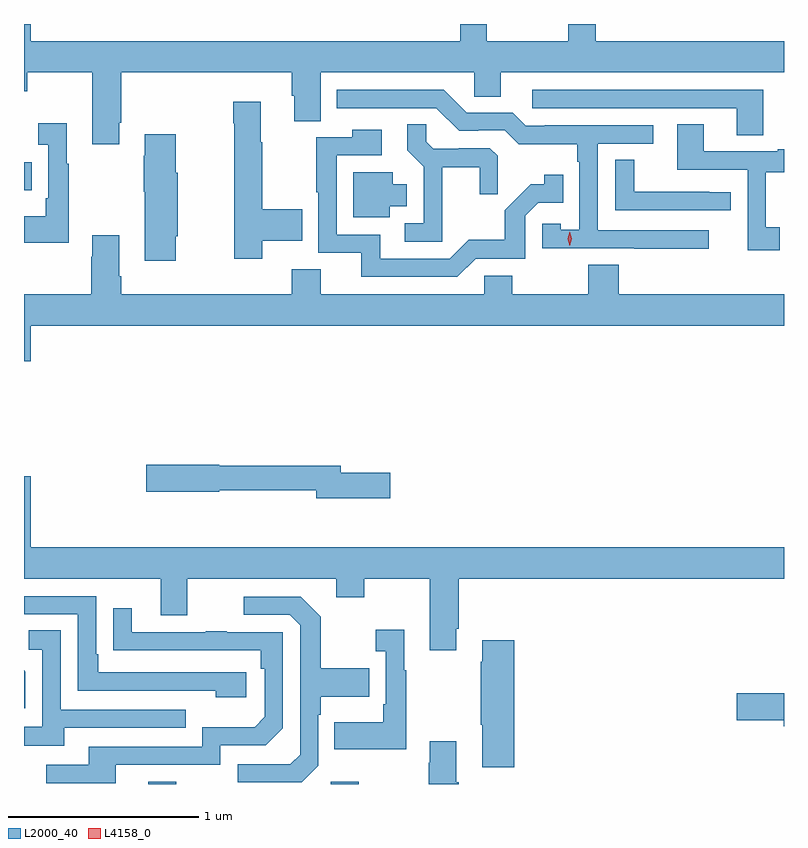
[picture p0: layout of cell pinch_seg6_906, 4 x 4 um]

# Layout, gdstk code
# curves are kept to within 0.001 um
import gdstk
lib = gdstk.Library(unit=1e-6, precision=1e-09)
def R(c, l, rs):  # rectangles x0, y0, x1, y1
    for r in rs: c.add(gdstk.rectangle(r[:2], r[2:], *l))
def P(c, l, *ps):  # polygons
    for p in ps: c.add(gdstk.Polygon(p, *l))
L2000_40 = (2000, 40)
L4158_0 = (4158, 0)

pinch_seg6_906 = lib.new_cell('pinch_seg6_906')
R(pinch_seg6_906, L2000_40, [(357.599,918.283,357.747,918.295), (358.56,918.283,358.707,918.295), (356.945,921.407,356.987,921.555)])
P(pinch_seg6_906, L2000_40, [(357.445,921.763),(357.458,921.763),(357.458,922.028),(358.355,922.028),(358.355,921.906),(358.367,921.906),(358.367,921.772),(358.507,921.772),(358.507,922.028),(359.316,922.028),(359.316,921.901),(359.455,921.901),(359.455,922.028),(360.945,922.028),(360.945,922.192),(359.954,922.192),(359.954,922.283),(359.81,922.283),(359.81,922.192),(359.38,922.192),(359.38,922.283),(359.24,922.283),(359.24,922.192),(356.98,922.192),(356.98,922.283),(356.945,922.283),(356.945,921.929),(356.961,921.929),(356.961,922.028),(357.305,922.028),(357.305,921.651),(357.445,921.651)],
  [(360.835,921.936),(359.619,921.936),(359.619,921.84),(360.695,921.84),(360.695,921.697),(360.835,921.697)],
  [(360.55,921.198),(359.964,921.198),(359.964,921.654),(360.256,921.654),(360.256,921.75),(359.686,921.75),(359.686,921.747),(359.586,921.747),(359.517,921.816),(359.274,921.816),(359.154,921.936),(358.592,921.936),(358.592,921.84),(359.115,921.84),(359.235,921.72),(359.336,921.72),(359.336,921.723),(359.475,921.723),(359.548,921.65),(359.856,921.65),(359.856,921.557),(359.868,921.557),(359.868,921.199),(359.769,921.199),(359.769,921.231),(359.673,921.231),(359.673,921.102),(360.157,921.102),(360.157,921.1),(360.55,921.1)],
  [(358.2,921.143),(358.409,921.143),(358.409,921.309),(358.2,921.309),(358.2,921.661),(358.192,921.661),(358.192,921.874),(358.046,921.874),(358.046,921.761),(358.051,921.761),(358.051,921.048),(358.2,921.048)],
  [(357.181,921.547),(357.169,921.547),(357.169,921.76),(357.021,921.76),(357.021,921.647),(357.072,921.647),(357.072,921.367),(357.06,921.367),(357.06,921.271),(356.945,921.271),(356.945,921.131),(357.181,921.131)],
  [(359.147,921.53),(359.344,921.53),(359.344,921.387),(359.438,921.387),(359.438,921.589),(359.397,921.63),(359.232,921.63),(359.232,921.627),(359.098,921.627),(359.061,921.664),(359.061,921.755),(358.963,921.755),(358.963,921.619),(359.049,921.533),(359.049,921.234),(358.95,921.234),(358.95,921.138),(359.147,921.138)],
  [(360.922,921.213),(360.85,921.213),(360.85,921.504),(360.945,921.504),(360.945,921.625),(360.911,921.625),(360.911,921.612),(360.523,921.612),(360.523,921.755),(360.383,921.755),(360.383,921.516),(360.753,921.516),(360.753,921.093),(360.922,921.093)],
  [(359.322,921.048),(359.583,921.048),(359.583,921.273),(359.652,921.342),(359.783,921.342),(359.783,921.49),(359.682,921.49),(359.682,921.44),(359.612,921.44),(359.475,921.302),(359.475,921.147),(359.286,921.147),(359.187,921.048),(358.819,921.048),(358.819,921.174),(358.59,921.174),(358.59,921.591),(358.828,921.591),(358.828,921.727),(358.672,921.727),(358.672,921.687),(358.482,921.687),(358.482,921.397),(358.494,921.397),(358.494,921.078),(358.721,921.078),(358.721,920.952),(359.226,920.952)],
  [(357.744,921.165),(357.754,921.165),(357.754,921.501),(357.744,921.501),(357.744,921.703),(357.581,921.703),(357.581,921.59),(357.574,921.59),(357.574,921.401),(357.581,921.401),(357.581,921.036),(357.744,921.036)],
  [(360.664,921.398),(360.551,921.398),(360.551,921.399),(360.156,921.399),(360.156,921.569),(360.057,921.569),(360.057,921.303),(360.664,921.303)],
  [(358.87,921.323),(358.96,921.323),(358.96,921.439),(358.885,921.439),(358.885,921.502),(358.679,921.502),(358.679,921.266),(358.87,921.266)],
  [(356.98,920.696),(360.945,920.696),(360.945,920.86),(360.074,920.86),(360.074,921.017),(359.914,921.017),(359.914,920.86),(359.514,920.86),(359.514,920.958),(359.367,920.958),(359.367,920.86),(358.507,920.86),(358.507,920.993),(358.355,920.993),(358.355,920.86),(357.458,920.86),(357.458,920.956),(357.445,920.956),(357.445,921.172),(357.305,921.172),(357.305,921.059),(357.298,921.059),(357.298,920.86),(356.945,920.86),(356.945,920.508),(356.98,920.508)],
  [(358.873,919.922),(358.612,919.922),(358.612,919.958),(357.972,919.958),(357.972,919.964),(357.588,919.964),(357.588,919.822),(357.972,919.822),(357.972,919.83),(358.484,919.83),(358.484,919.787),(358.873,919.787)],
  [(359.221,919.099),(359.234,919.099),(359.234,919.364),(360.945,919.364),(360.945,919.528),(356.98,919.528),(356.98,919.903),(356.945,919.903),(356.945,919.364),(357.665,919.364),(357.665,919.17),(357.805,919.17),(357.805,919.364),(358.589,919.364),(358.589,919.265),(358.737,919.265),(358.737,919.364),(359.081,919.364),(359.081,918.987),(359.221,918.987)],
  [(358.114,918.87),(357.337,918.87),(357.337,918.967),(357.324,918.967),(357.324,919.272),(356.945,919.272),(356.945,919.176),(357.228,919.176),(357.228,918.774),(357.953,918.774),(357.953,918.74),(358.114,918.74)],
  [(358.494,918.378),(358.494,918.647),(358.507,918.647),(358.507,918.743),(358.763,918.743),(358.763,918.891),(358.507,918.891),(358.507,919.163),(358.401,919.269),(358.101,919.269),(358.101,919.173),(358.344,919.173),(358.398,919.119),(358.398,918.438),(358.347,918.387),(358.071,918.387),(358.071,918.291),(358.407,918.291)],
  [(357.427,918.384),(357.978,918.384),(357.978,918.486),(358.218,918.486),(358.308,918.576),(358.308,919.083),(358.013,919.083),(358.013,919.088),(357.901,919.088),(357.901,919.083),(357.511,919.083),(357.511,919.207),(357.415,919.207),(357.415,918.988),(358.192,918.987),(358.192,918.89),(358.212,918.89),(358.212,918.636),(358.159,918.583),(357.882,918.583),(357.882,918.48),(357.287,918.48),(357.287,918.384),(357.063,918.384),(357.063,918.288),(357.427,918.288)],
  [(358.957,918.883),(358.945,918.883),(358.945,919.096),(358.797,919.096),(358.797,918.983),(358.848,918.983),(358.848,918.703),(358.836,918.703),(358.836,918.607),(358.579,918.607),(358.579,918.467),(358.957,918.467)],
  [(357.157,918.579),(357.797,918.579),(357.797,918.675),(357.138,918.675),(357.138,919.091),(356.97,919.091),(356.97,918.99),(357.042,918.99),(357.042,918.585),(356.945,918.585),(356.945,918.485),(357.157,918.485)],
  [(359.525,919.039),(359.357,919.039),(359.357,918.926),(359.35,918.926),(359.35,918.595),(359.357,918.595),(359.357,918.372),(359.525,918.372)],
  [(356.952,918.874),(356.945,918.881),(356.945,918.681),(356.952,918.681)],
  [(360.945,918.761),(360.696,918.761),(360.696,918.619),(360.944,918.619),(360.944,918.587),(360.945,918.587)],
  [(359.234,918.292),(359.221,918.292),(359.221,918.508),(359.081,918.508),(359.081,918.395),(359.074,918.395),(359.074,918.283),(359.234,918.283)])
P(pinch_seg6_906, L4158_0, [(359.817,921.117),(359.817,921.117),(359.807,921.153),(359.817,921.189),(359.817,921.189),(359.817,921.189),(359.827,921.153),(359.817,921.117)])

lib.write_gds('pinch_seg6_906.gds')
